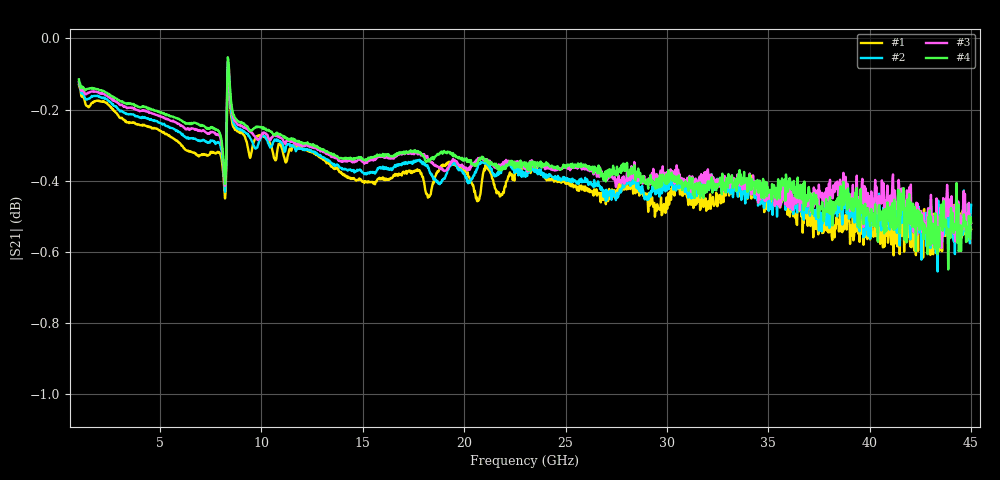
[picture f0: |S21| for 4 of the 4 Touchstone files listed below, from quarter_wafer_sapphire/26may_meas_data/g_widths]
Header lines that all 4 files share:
!Keysight Technologies,N5247B,MY61255062,A.19.80.06
!Correction: S11(C  2-Port  )
!S21(C  2-Port  )
!S12(C  2-Port  )
!S22(C  2-Port  )
!S2P File: Measurements: S11, S21, S12, S22:
# Hz S  dB  R 50
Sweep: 1 GHz to 45 GHz
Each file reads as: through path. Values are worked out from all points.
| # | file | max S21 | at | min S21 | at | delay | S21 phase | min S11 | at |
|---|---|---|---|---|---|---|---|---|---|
| 1 | 2g.s2p | -0.10 dB | 8.342 GHz | -0.6 dB | 42.63 GHz | 38.1 ps | 45 deg at 23 GHz | -36.0 dB | 1.413 GHz |
| 2 | 3g.s2p | -0.08 dB | 8.342 GHz | -0.7 dB | 43.35 GHz | 38.2 ps | 44 deg at 23 GHz | -35.7 dB | 8.315 GHz |
| 3 | 4g.s2p | -0.06 dB | 8.342 GHz | -0.6 dB | 43.54 GHz | 38.5 ps | 41 deg at 23 GHz | -45.5 dB | 36.72 GHz |
| 4 | 5g.s2p | -0.05 dB | 8.342 GHz | -0.6 dB | 43.87 GHz | 38.3 ps | 44 deg at 23 GHz | -35.8 dB | 1.11 GHz |
